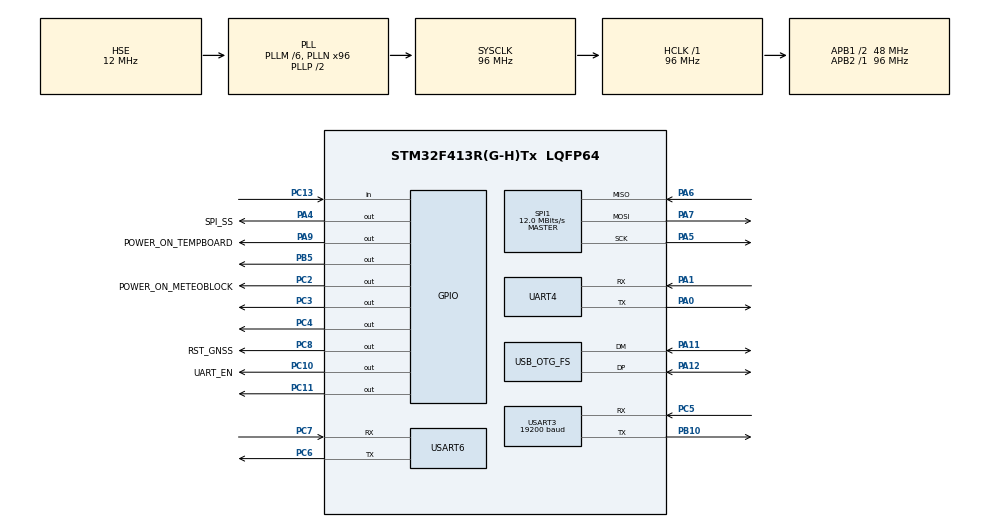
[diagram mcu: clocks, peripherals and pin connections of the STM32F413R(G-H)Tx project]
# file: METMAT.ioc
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Mcu.Family=STM32F4
Mcu.Name=STM32F413R(G-H)Tx
Mcu.Package=LQFP64
NVIC.OTG_FS_IRQn=true\:0\:0\:false\:false\:true\:false\:true
NVIC.PriorityGroup=NVIC_PRIORITYGROUP_4
NVIC.UART4_IRQn=true\:0\:0\:false\:false\:true\:true\:true
NVIC.USART3_IRQn=true\:0\:0\:false\:false\:true\:true\:true
NVIC.USART6_IRQn=true\:0\:0\:false\:false\:true\:true\:true
PA0.Mode=Asynchronous
PA0.Signal=UART4_TX
PA1.Mode=Asynchronous
PA1.Signal=UART4_RX
PA11.Mode=Device_Only
PA11.Signal=USB_OTG_FS_DM
PA12.Mode=Device_Only
PA12.Signal=USB_OTG_FS_DP
PA4.GPIO_Label=SPI_SS
PA4.Signal=GPIO_Output
PA5.Mode=Full_Duplex_Master
PA5.Signal=SPI1_SCK
PA6.Mode=Full_Duplex_Master
PA6.Signal=SPI1_MISO
PA7.Mode=Full_Duplex_Master
PA7.Signal=SPI1_MOSI
PA9.GPIO_Label=POWER_ON_TEMPBOARD
PA9.PinState=GPIO_PIN_SET
PA9.Signal=GPIO_Output
PB10.Mode=Asynchronous
PB10.Signal=USART3_TX
PB5.Signal=GPIO_Output
PC10.GPIO_Label=UART_EN
PC10.GPIO_Speed=GPIO_SPEED_FREQ_VERY_HIGH
PC10.Signal=GPIO_Output
PC11.GPIO_Speed=GPIO_SPEED_FREQ_VERY_HIGH
PC11.Signal=GPIO_Output
PC13.Signal=GPIO_Input
PC2.GPIO_Label=POWER_ON_METEOBLOCK
PC2.PinState=GPIO_PIN_SET
PC2.Signal=GPIO_Output
PC3.Signal=GPIO_Output
PC4.GPIO_Speed=GPIO_SPEED_FREQ_VERY_HIGH
PC4.Signal=GPIO_Output
PC5.Mode=Asynchronous
PC5.Signal=USART3_RX
PC6.Mode=Asynchronous
PC6.Signal=USART6_TX
PC7.Mode=Asynchronous
PC7.Signal=USART6_RX
PC8.GPIO_Label=RST_GNSS
PC8.PinState=GPIO_PIN_RESET
PC8.Signal=GPIO_Output
PH0\ -\ OSC_IN.Mode=HSE-External-Oscillator
PH0\ -\ OSC_IN.Signal=RCC_OSC_IN
PH1\ -\ OSC_OUT.Mode=HSE-External-Oscillator
PH1\ -\ OSC_OUT.Signal=RCC_OSC_OUT
ProjectManager.HeapSize=0x200
ProjectManager.StackSize=0x400
ProjectManager.TargetToolchain=MDK-ARM V5.32
RCC.AHBFreq_Value=96000000
RCC.APB1CLKDivider=RCC_HCLK_DIV2
RCC.APB1Freq_Value=48000000
RCC.APB1TimFreq_Value=96000000
RCC.APB2Freq_Value=96000000
RCC.APB2TimFreq_Value=96000000
RCC.CortexFreq_Value=96000000
RCC.EnbaleCSS=true
RCC.HCLKFreq_Value=96000000
RCC.HSE_VALUE=12000000
RCC.PLLM=6
RCC.PLLN=96
RCC.PLLQ=4
RCC.PLLSourceVirtual=RCC_PLLSOURCE_HSE
RCC.SYSCLKFreq_VALUE=96000000
RCC.SYSCLKSource=RCC_SYSCLKSOURCE_PLLCLK
RCC.USBFreq_Value=48000000
RCC.VCOOutputFreq_Value=192000000
SPI1.BaudRatePrescaler=SPI_BAUDRATEPRESCALER_8
SPI1.CalculateBaudRate=12.0 MBits/s
SPI1.Direction=SPI_DIRECTION_2LINES
SPI1.Mode=SPI_MODE_MASTER
SPI1.VirtualType=VM_MASTER
UART4.VirtualMode=Asynchronous
USART3.BaudRate=19200
USART3.VirtualMode=VM_ASYNC
USART6.VirtualMode=VM_ASYNC
USB_DEVICE.CLASS_NAME_FS=CDC
USB_DEVICE.VirtualMode=Cdc
USB_DEVICE.VirtualModeFS=Cdc_FS
USB_OTG_FS.VirtualMode=Device_Only
VP_USB_DEVICE_VS_USB_DEVICE_CDC_FS.Mode=CDC_FS
board=custom

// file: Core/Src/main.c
/* USER CODE BEGIN Header */
/**
 ******************************************************************************
 * @file           : main.c
 * @brief          : Main program body
 ******************************************************************************
 * @attention
 *
 * <h2><center>&copy; Copyright (c) 2023 STMicroelectronics.
 * All rights reserved.</center></h2>
 *
 * This software component is licensed by ST under Ultimate Liberty license
 * SLA0044, the "License"; You may not use this file except in compliance with
 * the License. You may obtain a copy of the License at:
 *                             www.st.com/SLA0044
 *
 ******************************************************************************
 */
/* USER CODE END Header */
#include "main.h"
#include "spi.h"
#include "usart.h"
#include "usb_device.h"
#include "gpio.h"

/* USER CODE BEGIN Includes */
#include "usbd_cdc_if.h"
//#include "parserMETEO.h"
//#include "meteostation.h"

/* USER CODE END Includes */

/* USER CODE BEGIN PV */
uint8_t str[1];
uint8_t dataReceived = 0;    // ������� ������ ��������
uint8_t dataTransmitted = 1; // ������� ������ ��������
uint8_t *Buf;

uint8_t flagBoard = 0;            // ??????? ?????? ????????
uint8_t receiveRingBuf[32] = {0}; // ??????? ?????? ????????

uint8_t requestTemperature = 0x5e;
uint8_t exitTemperature8[12] = {0};

// uart

uint8_t RxData[256] = {0};
uint8_t RxData6[60] = {0};
int indx = 0;
uint8_t fullPacket[12] = {0xFD, 0x55, 0};

uint8_t RxDataUSART3[32] = {0};
//-------------USB

uint8_t RxDataUSB[255] = {0};
uint32_t RxDataUSB_len = 0;

//--------meteo parser
//errorMeteostation_t errorMeteostation = {0};
//dataMeteostation_t dataMeteostation = {0};

/* USER CODE END PV */

void SystemClock_Config(void);

int main(void)
{

  /* MCU Configuration--------------------------------------------------------*/

  /* Reset of all peripherals, Initializes the Flash interface and the Systick. */
  HAL_Init();

  /* Configure the system clock */
  SystemClock_Config();

  /* Initialize all configured peripherals */
  MX_GPIO_Init();
  MX_USB_DEVICE_Init();
  MX_SPI1_Init();
  MX_USART3_UART_Init();
  MX_UART4_Init();
  MX_USART6_UART_Init();
  /* USER CODE BEGIN 2 */
  // __HAL_UART_ENABLE_IT(&huart4, UART_IT_IDLE);

  // HAL_UART_Receive_IT(&huart4, &receiveRingBuf[0], 12);
  HAL_UARTEx_ReceiveToIdle_IT(&huart3, RxDataUSART3, sizeof(RxDataUSART3));

  /* USER CODE END 2 */

  /* Infinite loop */
  /* USER CODE BEGIN WHILE */
  while (1)
  {

    //    HAL_Delay(1);
    // if (flagBoard & INTERRUPT_USB_MASK)
    if (flagBoard == 1)
    {
      flagBoard = 0;
      HAL_GPIO_TogglePin(GPIOC, GPIO_PIN_11);

      PIN_EN_TRANSMIT_USART3(1);
      HAL_UART_Transmit_IT(&huart3, RxDataUSB, RxDataUSB_len);
      HAL_Delay(3);
      PIN_EN_TRANSMIT_USART3(0);
    }

    /* USER CODE END WHILE */

  }
}

void SystemClock_Config(void)
{
  RCC_OscInitTypeDef RCC_OscInitStruct = {0};
  RCC_ClkInitTypeDef RCC_ClkInitStruct = {0};

  /** Configure the main internal regulator output voltage
   */
  __HAL_RCC_PWR_CLK_ENABLE();
  __HAL_PWR_VOLTAGESCALING_CONFIG(PWR_REGULATOR_VOLTAGE_SCALE1);
  /** Initializes the RCC Oscillators according to the specified parameters
   * in the RCC_OscInitTypeDef structure.
   */
  RCC_OscInitStruct.OscillatorType = RCC_OSCILLATORTYPE_HSE;
  RCC_OscInitStruct.HSEState = RCC_HSE_ON;
  RCC_OscInitStruct.PLL.PLLState = RCC_PLL_ON;
  RCC_OscInitStruct.PLL.PLLSource = RCC_PLLSOURCE_HSE;
  RCC_OscInitStruct.PLL.PLLM = 6;
  RCC_OscInitStruct.PLL.PLLN = 96;
  RCC_OscInitStruct.PLL.PLLP = RCC_PLLP_DIV2;
  RCC_OscInitStruct.PLL.PLLQ = 4;
  RCC_OscInitStruct.PLL.PLLR = 2;
  if (HAL_RCC_OscConfig(&RCC_OscInitStruct) != HAL_OK)
  {
    Error_Handler();
  }
  /** Initializes the CPU, AHB and APB buses clocks
   */
  RCC_ClkInitStruct.ClockType = RCC_CLOCKTYPE_HCLK | RCC_CLOCKTYPE_SYSCLK | RCC_CLOCKTYPE_PCLK1 | RCC_CLOCKTYPE_PCLK2;
  RCC_ClkInitStruct.SYSCLKSource = RCC_SYSCLKSOURCE_PLLCLK;
  RCC_ClkInitStruct.AHBCLKDivider = RCC_SYSCLK_DIV1;
  RCC_ClkInitStruct.APB1CLKDivider = RCC_HCLK_DIV2;
  RCC_ClkInitStruct.APB2CLKDivider = RCC_HCLK_DIV1;

  if (HAL_RCC_ClockConfig(&RCC_ClkInitStruct, FLASH_LATENCY_3) != HAL_OK)
  {
    Error_Handler();
  }
  /** Enables the Clock Security System
   */
  HAL_RCC_EnableCSS();
}

/* USER CODE BEGIN 4 */

/*
void HAL_UART_RxCpltCallback(UART_HandleTypeDef *huart) {

//HAL_GPIO_WritePin(GPIOC, GPIO_PIN_8, GPIO_PIN_RESET);
//HAL_Delay(200);
//HAL_GPIO_WritePin(GPIOC, GPIO_PIN_8, GPIO_PIN_SET);

//HAL_GPIO_WritePin(GPIOC, GPIO_PIN_8, GPIO_PIN_SET);
//	HAL_GPIO_WritePin(GPIOC,GPIO_PIN_4,GPIO_PIN_RESET );
//  if(huart == &huart6) {

//      CDC_Transmit_FS(str,1);

//    }
//    HAL_UART_Receive_IT (&huart6, str, 1);
    HAL_GPIO_TogglePin(GPIOC,GPIO_PIN_3 );
  }*/

// void HAL_UART_RxCpltCallback(UART_HandleTypeDef *huart)
// {
//   // receiveDataBuf = {0}
//   const float DS18B20_T_STEP_float = 0.0625;
//   const uint16_t startWord = {0xFD55};
//   const uint8_t startWord8[2] = {0xFD, 0x55};
//   uint16_t exitTemperature[6] = {0};

//   if (huart->Instance == UART4) // c
//   {
//     /*
//     uint8_t outData_temp[24] = {0};
//     float temperature_fl[5] = {0};

//     for (size_t i = 0; i < 5; i++)
//     {
//       int16_t temp16b = (int16_t)(receiveRingBuf[i * 2 + 2] << 8 | receiveRingBuf[i * 2 + 1 + 2]); //(a << 8) | b
//       temperature_fl[i] = (float)(int32_t)temp16b * DS18B20_T_STEP_float;
//     }

//     //    if (memcmp(receiveRingBuf, &requestTemperature, 1))
//     //    {
//     //      // for (size_t i = 0; i < 5; i++)
//     //      // {
//     //      //   memcpy(&fullPacket[i * 2 + 1], &temperatureSensor[i].sourceTemperature, 2);
//     //      // }

//     //      // HAL_GPIO_WritePin(GPIOB, GPIO_PIN_5, GPIO_PIN_SET);
//     //      // HAL_UART_Transmit_IT(&huart1, &fullPacket[0], sizeof(fullPacket));
//     //      // HAL_GPIO_WritePin(GPIOB, GPIO_PIN_5, GPIO_PIN_RESET);
//     //      HAL_GPIO_TogglePin(GPIOC, GPIO_PIN_3);
//     //      memcpy(&receiveRingBuf[0], huart->pRxBuffPtr, 11);
//     //      CDC_Transmit_FS(&receiveRingBuf[0], 11);
//     //    }

//     HAL_GPIO_TogglePin(GPIOC, GPIO_PIN_11);
//     memcpy(&outData_temp[0], &receiveRingBuf[0], 2);
//     memcpy(&outData_temp[1], &temperature_fl[0], sizeof(float) * 5);
//     CDC_Transmit_FS(&outData_temp[0], sizeof(outData_temp));
//     */

//     HAL_GPIO_TogglePin(GPIOC, GPIO_PIN_11);
//     memcpy(&exitTemperature8[0], &startWord8[0], 2);
//     memcpy(&exitTemperature8[2], &receiveRingBuf[2], 10);
//     CDC_Transmit_FS(&exitTemperature8[0], sizeof(exitTemperature8));
//   }

//   // HAL_UART_Receive_IT(&huart4, &receiveRingBuf[0], 12);
// }

// void HAL_UART_RxIdleCallback(UART_HandleTypeDef *huart)
// {
//   // __HAL_UART_DISABLE_IT(huart, UART_IT_IDLE);

//   const float DS18B20_T_STEP_float = 0.0625;
//   // const uint16_t startWord = {0xFD55};
//   const uint8_t startWord8[2] = {0xFD, 0x55};
//   uint16_t exitTemperature[6] = {0};
//   HAL_GPIO_TogglePin(GPIOC, GPIO_PIN_11);
//   memcpy(&exitTemperature8[0], &startWord8[0], 2);
//   memcpy(&exitTemperature8[2], &receiveRingBuf[2], 10);
//   CDC_Transmit_FS(&exitTemperature8[0], sizeof(exitTemperature8));

//   __HAL_UART_CLEAR_IDLEFLAG(&huart4);
//   __HAL_UART_ENABLE_IT(&huart4, UART_IT_IDLE);
// }

void HAL_UARTEx_RxEventCallback(UART_HandleTypeDef *huart, uint16_t Size)
{

  // const float DS18B20_T_STEP_float = 0.0625;
  const uint8_t startWord8[2] = {0xFD, 0x55};
  indx = Size;

  if (huart->Instance == USART3) // check if the interrupt comes from //rs485
  {
    if (memcmp(RxDataUSART3, RxDataUSB, Size)) // echo data
    {
      CDC_Transmit_FS(&RxDataUSART3[0], Size);
//      parserMeteoStation_simple(&RxDataUSART3[0]);
    }
    HAL_UARTEx_ReceiveToIdle_IT(&huart3, RxDataUSART3, sizeof(RxDataUSART3));
  }
  if (huart->Instance == UART4) // check if the interrupt comes from
  {
    // const uint8_t startPacket = 0x5D;
    // const uint8_t startBites = 7;
    // startByte.startBite = startBites;

    // for (size_t i = 0; i < 5; i++)
    // {
    //   startByte.tempSensor[i] = (uint8_t)errorDS18B20[i];
    // }

    // if (memcmp(RxData, &fullPacket[0], Size))
    // {

    // }

//    if (memcmp(RxData, &requestTemperature, 1))
//    {
//      // for (size_t i = 0; i < 5; i++)
//      // {
//      //   memcpy(&fullPacket[i * 2 + 1], &temperatureSensor[i].sourceTemperature, 2);
//      // }

//      // HAL_GPIO_WritePin(GPIOB, GPIO_PIN_5, GPIO_PIN_SET);
//      // HAL_UART_Transmit_IT(&huart4, &fullPacket[0], sizeof(fullPacket));
//      // HAL_Delay(5);
//      // HAL_GPIO_WritePin(GPIOB, GPIO_PIN_5, GPIO_PIN_RESET);

//      // HAL_GPIO_TogglePin(GPIOC, GPIO_PIN_11);
//      memcpy(&exitTemperature8[0], &startWord8[0], 2);
//      memcpy(&exitTemperature8[2], &RxData[2], 10);
//      CDC_Transmit_FS(&exitTemperature8[0], sizeof(exitTemperature8));
//      // CDC_Transmit_FS(&RxData[0], 12);
//    }

    HAL_UARTEx_ReceiveToIdle_IT(&huart4, RxData, sizeof(RxData));
  }

  if (huart->Instance == USART6) // check if the interrupt comes from
  {

    CDC_Transmit_FS(&RxData6[0], sizeof(RxData6));
    HAL_UARTEx_ReceiveToIdle_IT(&huart6, RxData6, sizeof(RxData6));
  }
}

//  uint16_t sign = tRegValue & DS18B20_SIGN_MASK;

//  if (sign != 0)
//  {
//    tRegValue = (0xFFFF - tRegValue + 1);
//  }

//  tRegValue &= DS18B20_12_BITS_DATA_MASK;

//  sensor->temperature = (float)tRegValue * DS18B20_T_STEP;
//  if (sign != 0)
//  {
//    sensor->temperature *= (-1);
//  }

/* USER CODE END 4 */

void Error_Handler(void)
{
  __disable_irq();
  while (1)
  {
  }
}

/************************ (C) COPYRIGHT STMicroelectronics *****END OF FILE****/
